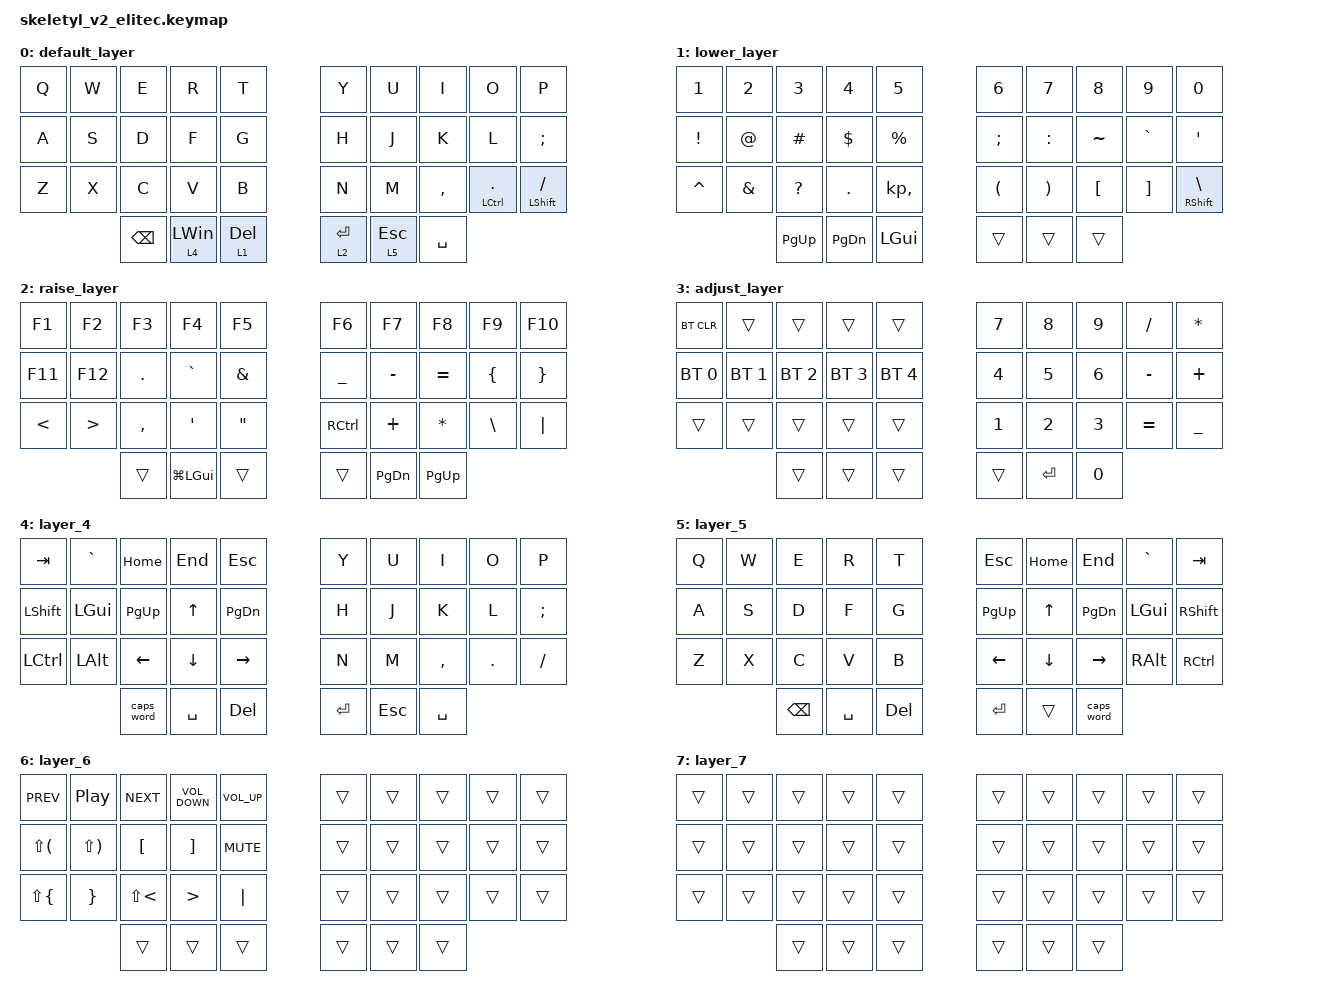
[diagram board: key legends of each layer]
/*
 * Copyright (c) 2020 The ZMK Contributors
 *
 * SPDX-License-Identifier: MIT
 */

#include <behaviors.dtsi>
#include <dt-bindings/zmk/bt.h>
#include <dt-bindings/zmk/keys.h>

#define DEFAULT 0
#define LOWER   1
#define RAISE   2
#define ADJUST  3
#define LOWER2   4
#define RAISE2   5
#define LOWLOW   6
#define RAIRAI   7
#define ADJ ADJUST
#define LWR LOWER
#define LWR2 LOWER2
#define L2 LOWLOW
#define RSE RAISE
#define RSE2 RAISE2
#define R2 RAIRAI

&mt {
    tapping-term-ms = <200>;
    flavor = "tap-preferred";
};

&lt {
    quick_tap_ms = <200>;
    tapping-term-ms = <180>;
};

&sk {
    release-after-ms = <2000>;
    quick-release;
};

/ {
    combos {
        compatible = "zmk,combos";

        combo_esc {
            timeout-ms = <50>;
            key-positions = <1 2>;
            bindings = <&kp ESC>;
        };

        combo_tab {
            timeout-ms = <50>;
            key-positions = <11 12>;
            bindings = <&kp TAB>;
        };

        nextlangleft {
            bindings = <&shiftlang>;
            key-positions = <20 10>;
        };

        nexlangright {
            bindings = <&shiftlang>;
            key-positions = <29 19>;
        };
    };

    behaviors {
        hm: homerow_mods {
            compatible = "zmk,behavior-hold-tap";
            label = "HOMEROW_MODS";
            #binding-cells = <2>;
            tapping-term-ms = <240>;
            quick_tap_ms = <0>;
            flavor = "tap-preferred";
            bindings =
                <&kp>,
                <&kp>;
        };
        hs: homerow_shifts {
            compatible = "zmk,behavior-hold-tap";
            label = "HOMEROW_SHIFTS";
            #binding-cells = <2>;
            tapping-term-ms = <150>;
            quick_tap_ms = <0>;
            flavor = "balanced";
            bindings =
                <&kp>,
                <&kp>;
        };
        td: tapdance {
            compatible = "zmk,behavior-hold-tap";
            label = "TAPDANCE";
            #binding-cells = <2>;
            tapping-term-ms = <190>;
            quick_tap_ms = <0>;
            flavor = "tap-preferred";
            bindings =
                <&kp>,
                <&kp>;
        };
    };

    conditional_layers {
        compatible = "zmk,conditional-layers";

        tri_layer {
            if-layers = <LOWER RAISE>;
            then-layer = <ADJUST>;
        };

        six_layer {
            if-layers = <LOWER LOWER2>;
            then-layer = <LOWLOW>;
        };

        seven_layer {
            if-layers = <RAISE RAISE2>;
            then-layer = <RAIRAI>;
        };
    };

    macros {
        shiftlang: shiftlang {
            compatible = "zmk,behavior-macro";
            label = "SHIFTLANG";
            #binding-cells = <0>;
            bindings =
                <&macro_tap>,
                <&kp LCTRL &kp LEFT_SHIFT>,
                <&macro_release>;
        };
    };

    keymap {
        compatible = "zmk,keymap";

        default_layer {
            bindings = <
&kp Q  &kp W     &kp E           &kp R         &kp T          &kp Y         &kp U      &kp I             &kp O                 &kp P
&kp A  &kp S     &kp D           &kp F         &kp G          &kp H         &kp J      &kp K             &kp L              &kp SEMI
&kp Z  &kp X     &kp C           &kp V         &kp B          &kp N         &kp M  &kp COMMA  &hm LCTRL PERIOD  &hs LEFT_SHIFT SLASH
              &kp BSPC  &lt 4 LEFT_WIN  &lt 1 DELETE    &lt 2 ENTER  &lt 5 ESCAPE  &kp SPACE
            >;
        };

        lower_layer {
            bindings = <
   &kp N1         &kp N2        &kp N3         &kp N4        &kp N5                  &kp N6                 &kp N7     &kp N8     &kp N9           &kp N0
 &kp EXCL         &kp AT      &kp HASH     &kp DOLLAR     &kp PRCNT                &kp SEMI              &kp COLON  &kp TILDE  &kp GRAVE          &kp SQT
&kp CARET  &kp AMPERSAND  &kp QUESTION        &kp DOT  &kp KP_COMMA    &kp LEFT_PARENTHESIS  &kp RIGHT_PARENTHESIS   &kp LBKT   &kp RBKT  &hs RSHIFT BSLH
                           &kp PAGE_UP  &kp PAGE_DOWN      &kp LGUI                  &trans                 &trans     &trans
            >;
        };

        raise_layer {
            bindings = <
       &kp F1            &kp F2     &kp F3        &kp F4             &kp F5       &kp F6         &kp F7       &kp F8          &kp F9          &kp F10
      &kp F11           &kp F12    &kp DOT     &kp GRAVE           &kp AMPS    &kp UNDER      &kp MINUS    &kp EQUAL  &kp LEFT_BRACE  &kp RIGHT_BRACE
&kp LESS_THAN  &kp GREATER_THAN  &kp COMMA       &kp SQT  &kp DOUBLE_QUOTES    &kp RCTRL       &kp PLUS     &kp STAR        &kp BSLH         &kp PIPE
                                    &trans  &kp LG(LGUI)             &trans       &trans  &kp PAGE_DOWN  &kp PAGE_UP
            >;
        };

        adjust_layer {
            bindings = <
  &bt BT_CLR        &trans        &trans        &trans        &trans    &kp N7   &kp N8  &kp N9   &kp FSLH   &kp STAR
&bt BT_SEL 0  &bt BT_SEL 1  &bt BT_SEL 2  &bt BT_SEL 3  &bt BT_SEL 4    &kp N4   &kp N5  &kp N6  &kp MINUS   &kp PLUS
      &trans        &trans        &trans        &trans        &trans    &kp N1   &kp N2  &kp N3  &kp EQUAL  &kp UNDER
                                  &trans        &trans        &trans    &trans  &kp RET  &kp N0
            >;
        };

        layer_4 {
            bindings = <
  &kp TAB  &kp GRAVE    &kp HOME    &kp END        &kp ESC      &kp Y    &kp U      &kp I    &kp O     &kp P
&kp LSHFT   &kp LGUI   &kp PG_UP     &kp UP  &kp PAGE_DOWN      &kp H    &kp J      &kp K    &kp L  &kp SEMI
&kp LCTRL   &kp LALT    &kp LEFT   &kp DOWN      &kp RIGHT      &kp N    &kp M  &kp COMMA  &kp DOT  &kp FSLH
                      &caps_word  &kp SPACE        &kp DEL    &kp RET  &kp ESC  &kp SPACE
            >;
        };

        layer_5 {
            bindings = <
&kp Q  &kp W     &kp E      &kp R    &kp T      &kp ESC  &kp HOME     &kp END  &kp GRAVE    &kp TAB
&kp A  &kp S     &kp D      &kp F    &kp G    &kp PG_UP    &kp UP   &kp PG_DN   &kp LGUI  &kp RSHFT
&kp Z  &kp X     &kp C      &kp V    &kp B     &kp LEFT  &kp DOWN   &kp RIGHT   &kp RALT  &kp RCTRL
              &kp BSPC  &kp SPACE  &kp DEL      &kp RET    &trans  &caps_word
            >;
        };

        layer_6 {
            bindings = <
        &kp C_PREV           &kp C_PLAY_PAUSE         &kp C_NEXT  &kp C_VOLUME_DOWN  &kp C_VOLUME_UP    &trans  &trans  &trans  &trans  &trans
      &kp LS(LPAR)  &kp LS(RIGHT_PARENTHESIS)           &kp LBKT  &kp RIGHT_BRACKET       &kp C_MUTE    &trans  &trans  &trans  &trans  &trans
&kp LS(LEFT_BRACE)                   &kp RBRC  &kp LS(LESS_THAN)   &kp GREATER_THAN         &kp PIPE    &trans  &trans  &trans  &trans  &trans
                                                          &trans             &trans           &trans    &trans  &trans  &trans
            >;
        };

        layer_7 {
            bindings = <
&trans  &trans  &trans  &trans  &trans    &trans  &trans  &trans  &trans  &trans
&trans  &trans  &trans  &trans  &trans    &trans  &trans  &trans  &trans  &trans
&trans  &trans  &trans  &trans  &trans    &trans  &trans  &trans  &trans  &trans
                &trans  &trans  &trans    &trans  &trans  &trans
            >;
        };
    };
};
